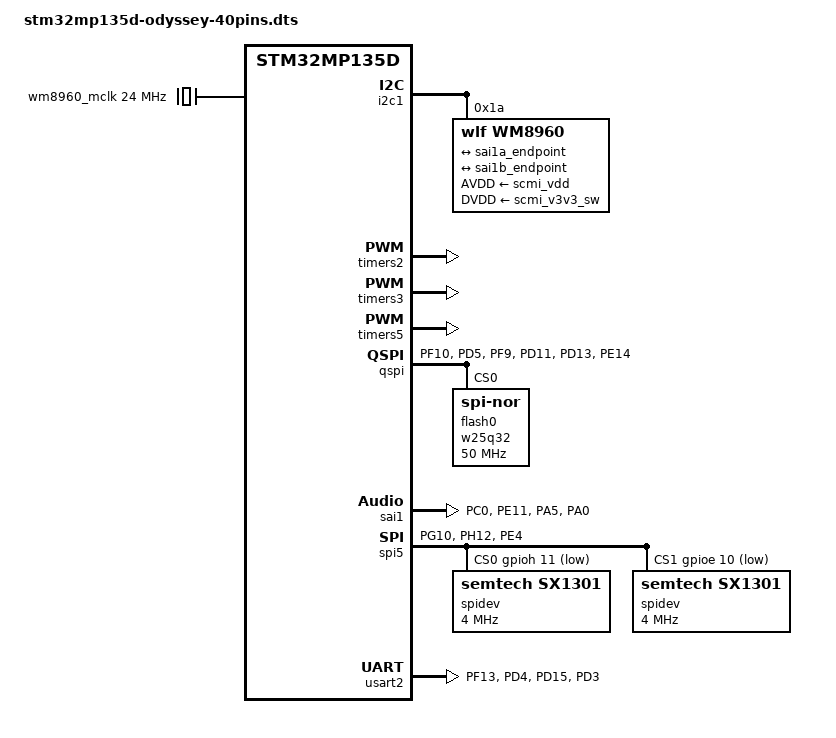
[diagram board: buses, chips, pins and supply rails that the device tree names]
// SPDX-License-Identifier: (GPL-2.0+ OR BSD-3-Clause)
/*
 * Copyright (C) STMicroelectronics 2021 - All Rights Reserved
 * Author: Alexandre Torgue <alexandre.torgue@foss.st.com> for STMicroelectronics.
 */

/dts-v1/;

#include <dt-bindings/clock/stm32mp13-clks.h>
#include "stm32mp135d-odyssey.dts"

/ {
	clocks {
		wm8960_mclk: wm8960-mclk {
			compatible = "fixed-clock";
			#clock-cells = <0>;
			clock-frequency = <24000000>;
		};
	};

	sound {
		compatible = "audio-graph-card";
		label = "seeed-2mic-voicecard";
		mclk-fs = <256>;
		dai-format = "i2s";
		widgets =
			"Microphone", "Mic Jack",
			"Line", "Line In",
			"Line", "Line Out",
			"Speaker", "Speaker",
			"Headphone", "Headphone Jack";

		routing =
			"Headphone Jack", "HP_L",
			"Headphone Jack", "HP_R",
			"Speaker", "SPK_LP",
			"Speaker", "SPK_LN",
			"LINPUT1", "Mic Jack",
			"LINPUT3", "Mic Jack",
			"RINPUT1", "Mic Jack",
			"RINPUT2", "Mic Jack";

		dais = <&sai1a_port &sai1b_port>;
		status = "okay";
	};
};

&i2c1 {
	wm8960: wm8960@1a {
		compatible = "wlf,wm8960";
		reg = <0x1a>;
		#sound-dai-cells = <0>;
		AVDD-supply = <&scmi_vdd>;
		DVDD-supply = <&scmi_v3v3_sw>;
		clocks = <&wm8960_mclk>;
		clock-names = "mclk";
		wlf,shared-lrclk;
		status = "okay";

		port {
			#address-cells = <1>;
			#size-cells = <0>;

			wm8960_tx_endpoint: endpoint@0 {
				reg = <0>;
				remote-endpoint = <&sai1a_endpoint>;
				frame-master;
				bitclock-master;
			};

			wm8960_rx_endpoint: endpoint@1 {
				reg = <1>;
				remote-endpoint = <&sai1b_endpoint>;
				frame-master;
				bitclock-master;
			};
		};
	};
};

&timers2 {
	/delete-property/dmas;
	/delete-property/dma-names;
	status = "okay";
	pwm {
		pinctrl-0 = <&pwm2_pins_a>;
		pinctrl-1 = <&pwm2_sleep_pins_a>;
		pinctrl-names = "default", "sleep";
		status = "okay";
	};
	timer@2 {
		status = "okay";
	};
};

&timers3 {
	/delete-property/dmas;
	/delete-property/dma-names;
	status = "okay";
	pwm {
		pinctrl-0 = <&pwm3_pins_a>;
		pinctrl-1 = <&pwm3_sleep_pins_a>;
		pinctrl-names = "default", "sleep";
		status = "okay";
	};
	timer@2 {
		status = "okay";
	};
	counter {
		status = "okay";
	};
};

&timers5 {
	/delete-property/dmas;
	/delete-property/dma-names;
	status = "okay";
	pwm {
		pinctrl-0 = <&pwm5_pins_a>;
		pinctrl-1 = <&pwm5_sleep_pins_a>;
		pinctrl-names = "default", "sleep";
		status = "okay";
	};
	timer@2 {
		status = "okay";
	};
};

&qspi {
	status = "okay";
	#address-cells = <1>;
	#size-cells = <0>;

	pinctrl-names = "default", "sleep";
	pinctrl-0 = <&qspi_clk_pins_a &qspi_pins_a>;
	pinctrl-1 = <&qspi_clk_sleep_pins_a &qspi_sleep_pins_a>;

	flash0: w25q32@0 {
		compatible = "jedec,spi-nor";
		reg = <0>;
		spi-rx-bus-width = <4>;
		spi-tx-bus-width = <4>;
		spi-max-frequency = <50000000>;
		#address-cells = <1>;
		#size-cells = <1>;
	};
};

&sai1 {
	#sound-dai-cells = <0>;
	pinctrl-names = "default", "sleep";
	pinctrl-0 = <&sai1_pins_a>, <&sai1_pins_b>;
	pinctrl-1 = <&sai1_sleep_pins_a>, <&sai1_sleep_pins_b>;
	clocks = <&rcc SAI1>, <&scmi_clk CK_SCMI_PLL3_Q>, <&scmi_clk CK_SCMI_PLL3_R>;
	clock-names = "pclk", "x8k", "x11k";
	status = "okay";

	sai1a: audio-controller@4400a004 {
		dma-names = "tx";
		status = "okay";
		clocks = <&rcc SAI1_K>;
		clock-names = "sai_ck";

		sai1a_port: port {
			sai1a_endpoint: endpoint {
				remote-endpoint = <&wm8960_tx_endpoint>;
				format = "i2s";
				mclk-fs = <512>;
				dai-tdm-slot-num = <2>;
				dai-tdm-slot-width = <16>;
			};
		};
	};

	sai1b: audio-controller@4400a024 {
		dma-names = "rx";
		status = "okay";
		st,sync = <&sai1a 2>;

		sai1b_port: port {
			sai1b_endpoint: endpoint {
				remote-endpoint = <&wm8960_rx_endpoint>;
				format = "i2s";
				mclk-fs = <512>;
				dai-tdm-slot-num = <2>;
				dai-tdm-slot-width = <16>;
			};
		};
	};
};

&spi5 {
	pinctrl-names = "default", "sleep";
	pinctrl-0 = <&spi5_pins_a>;
	pinctrl-1 = <&spi5_sleep_pins_a>;
	status = "okay";

	cs-gpios = <&gpioh 11 GPIO_ACTIVE_LOW>, /* GPIOH_11 */
		<&gpioe 10 GPIO_ACTIVE_LOW>; /* GPIOE_10 */

	spidev@0{
		compatible = "semtech,sx1301";
		reg = <0>;
		spi-max-frequency = <4000000>;
	};

	spidev@1{
		compatible = "semtech,sx1301";
		reg = <1>;
		spi-max-frequency = <4000000>;
	};
};

&usart2 {
	pinctrl-names = "default", "sleep", "idle";
	pinctrl-0 = <&usart2_pins_a>;
	pinctrl-1 = <&usart2_sleep_pins_a>;
	pinctrl-2 = <&usart2_idle_pins_a>;
	uart-has-rtscts;
	status = "okay";
};

&pinctrl {
	/* timers2 */
	pwm2_pins_a: pwm1-0 {
		pins {
			pinmux = <STM32_PINMUX('B', 10, AF1)>; /* TIM2_CH3 */
			bias-pull-down;
			drive-push-pull;
			slew-rate = <0>;
		};
	};

	pwm2_sleep_pins_a: pwm1-sleep-0 {
		pins {
			pinmux = <STM32_PINMUX('B', 10, ANALOG)>; /* TIM2_CH3 */
		};
	};

	/* timers3 */
	pwm3_pins_a: pwm3-0 {
		pins {
			pinmux = <STM32_PINMUX('A', 6, AF2)>, /* TIM3_CH1 */
					<STM32_PINMUX('A', 7, AF2)>,  /* TIM3_CH2 */
					<STM32_PINMUX('B', 1, AF2)>;  /* TIM3_CH4 */
			bias-pull-down;
			drive-push-pull;
			slew-rate = <0>;
		};
	};

	pwm3_sleep_pins_a: pwm3-sleep-0 {
		pins {
			pinmux = <STM32_PINMUX('A', 6, ANALOG)>, /* TIM3_CH1 */
					<STM32_PINMUX('A', 7, ANALOG)>,  /* TIM3_CH2 */
					<STM32_PINMUX('B', 1, ANALOG)>;  /* TIM3_CH4 */
		};
	};

	/* timers5 */
	pwm5_pins_a: pwm5-0 {
		pins {
			pinmux = <STM32_PINMUX('A', 3, AF2)>; /* TIM5_CH4 */
			bias-pull-down;
			drive-push-pull;
			slew-rate = <0>;
		};
	};

	pwm5_sleep_pins_a: pwm5-sleep-0 {
		pins {
			pinmux = <STM32_PINMUX('A', 3, ANALOG)>; /* TIM5_CH4 */
		};
	};

	/* qspi */
	qspi_clk_pins_a: qspi-clk-0 {
		pins {
			pinmux = <STM32_PINMUX('F', 10, AF9)>; /* QSPI_CLK */
			bias-disable;
			drive-push-pull;
			slew-rate = <3>;
		};
	};

	qspi_clk_sleep_pins_a: qspi-clk-sleep-0 {
		pins {
			pinmux = <STM32_PINMUX('F', 10, ANALOG)>; /* QSPI_CLK */
		};
	};

	qspi_pins_a: qspi-0 {
		pins1 {
			pinmux = <STM32_PINMUX('D', 5, AF9)>, /* QSPI_BK1_IO0 */
				 <STM32_PINMUX('F', 9, AF10)>, /* QSPI_BK1_IO1 */
				 <STM32_PINMUX('D', 11, AF9)>, /* QSPI_BK1_IO2 */
				 <STM32_PINMUX('D', 13, AF9)>; /* QSPI_BK1_IO3 */
			bias-disable;
			drive-push-pull;
			slew-rate = <3>;
		};
		pins2 {
			pinmux = <STM32_PINMUX('E', 14, AF9)>; /* QSPI_BK1_NCS */
			bias-pull-up;
			drive-push-pull;
			slew-rate = <3>;
		};
	};

	qspi_sleep_pins_a: qspi-sleep-0 {
		pins {
			pinmux = <STM32_PINMUX('D', 5, ANALOG)>, /* QSPI_BK1_IO0 */
				 <STM32_PINMUX('F', 9, AF10)>, /* QSPI_BK1_IO1 */
				 <STM32_PINMUX('D', 11, AF9)>, /* QSPI_BK1_IO2 */
				 <STM32_PINMUX('D', 13, AF9)>, /* QSPI_BK1_IO3 */
				 <STM32_PINMUX('E', 14, ANALOG)>; /* QSPI_BK1_NCS */
		};
	};

	/* sai1 */
	sai1_pins_a: sai1a-1 {
		pins {
			pinmux = <STM32_PINMUX('C',  0, AF2)>,	/* SAI1_SCK */
					 <STM32_PINMUX('E', 11, AF6)>,	/* SAI1_FSA */
					 <STM32_PINMUX('A',  5, AF6)>;	/* SAI1_SDA */
			slew-rate = <0>;
			drive-push-pull;
			bias-disable;
		};
	};

	sai1_sleep_pins_a: sai1a-sleep-1 {
		pins {
			pinmux = <STM32_PINMUX('C', 0, ANALOG)>,	/* SAI1_SCK */
					 <STM32_PINMUX('E', 11, ANALOG)>,	/* SAI1_FS */
					 <STM32_PINMUX('A', 5, ANALOG)>;	/* SAI1_SDA */
		};
	};

	sai1_pins_b: sai1b-1 {
		pins {
			pinmux = <STM32_PINMUX('A', 0, AF6)>;		/* SAI1_SDB */
			slew-rate = <0>;
			drive-push-pull;
			bias-disable;
		};
	};

	sai1_sleep_pins_b: sai1b-sleep-1 {
		pins {
			pinmux = <STM32_PINMUX('A', 0, ANALOG)>;	/* SAI1_SDB */
		};
	};

	/* spi5 */
	spi5_pins_a: spi5-0 {
		pins1 {
			pinmux = <STM32_PINMUX('G', 10, AF5)>, /* SPI5_SCK */
				 <STM32_PINMUX('H', 12, AF5)>; /* SPI5_MOSI */
			bias-disable;
			drive-push-pull;
			slew-rate = <1>;
		};

		pins2 {
			pinmux = <STM32_PINMUX('E', 4, AF1)>; /* SPI5_MISO */
			bias-disable;
		};
	};

	spi5_sleep_pins_a: spi5-sleep-0 {
		pins {
			pinmux = <STM32_PINMUX('G', 10, ANALOG)>, /* SPI5_SCK */
				 <STM32_PINMUX('H', 12, ANALOG)>, /* SPI5_MOSI */
				 <STM32_PINMUX('E', 4, ANALOG)>; /* SPI5_MISO */
		};
	};

	/* usart2 */
	usart2_pins_a: usart2-0 {
		pins1 {
			pinmux = <STM32_PINMUX('F', 13, AF7)>, /* USART2_TX */
				 <STM32_PINMUX('D', 4, AF3)>; /* USART2_RTS */
			bias-disable;
			drive-push-pull;
			slew-rate = <0>;
		};
		pins2 {
			pinmux = <STM32_PINMUX('D', 15, AF1)>, /* USART2_RX */
				 <STM32_PINMUX('D', 3, AF3)>; /* USART2_CTS_NSS */
			bias-pull-up;
		};
	};

	usart2_idle_pins_a: usart2-idle-0 {
		pins1 {
			pinmux = <STM32_PINMUX('F', 13, ANALOG)>, /* USART2_TX */
				 <STM32_PINMUX('D', 3, ANALOG)>; /* USART2_CTS_NSS */
		};
		pins2 {
			pinmux = <STM32_PINMUX('D', 4, AF3)>; /* USART2_RTS */
			bias-disable;
			drive-push-pull;
			slew-rate = <0>;
		};
		pins3 {
			pinmux = <STM32_PINMUX('D', 15, AF1)>; /* USART2_RX */
			bias-disable;
		};
	};

	usart2_sleep_pins_a: usart2-sleep-0 {
		pins {
			pinmux = <STM32_PINMUX('F', 13, ANALOG)>, /* USART2_TX */
				 <STM32_PINMUX('D', 4, ANALOG)>, /* USART2_RTS */
				 <STM32_PINMUX('D', 15, ANALOG)>, /* USART2_RX */
				 <STM32_PINMUX('D', 3, ANALOG)>; /* USART2_CTS_NSS */
		};
	};
};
